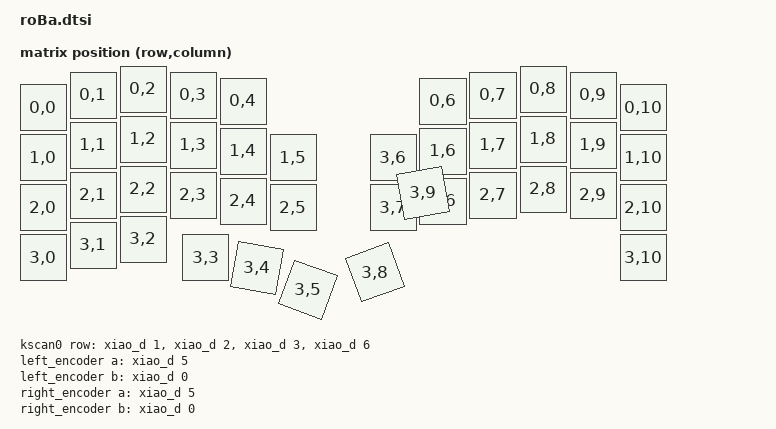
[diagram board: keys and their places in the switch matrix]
#include <dt-bindings/zmk/matrix_transform.h>
#include <physical_layouts.dtsi>
#include <input/processors.dtsi>
#include <dt-bindings/zmk/input_transform.h>

/ {
    chosen {
        zmk,physical-layout = &roba_physical_layout;
    };

    split_inputs {
        #address-cells = <1>;
        #size-cells = <0>;

        trackball_split: trackball_split@0 {
            compatible = "zmk,input-split";
            status = "disabled";
            reg = <0>;
        };
    };

    trackball_listener: trackball_listener {
        compatible = "zmk,input-listener";
        status = "disabled";
        device = <&trackball_split>;

        scroll {
            layers = <5>;
            input-processors = <&zip_xy_transform (INPUT_TRANSFORM_Y_INVERT)>, <&zip_xy_to_scroll_mapper>;
        };

        snipe {
            layers = <6>;
            input-processors = <&zip_xy_scaler 1 3>;
        };
    };
    
    roba_physical_layout: roba_physical_layout {
        compatible = "zmk,physical-layout";
        display-name = "Default";
        transform = <&default_transform>;
        kscan = <&kscan0>;

        keys  //                     w   h    x    y     rot    rx    ry
            = <&key_physical_attrs 100 100    0   37       0     0     0>
            , <&key_physical_attrs 100 100  100   12       0     0     0>
            , <&key_physical_attrs 100 100  200    0       0     0     0>
            , <&key_physical_attrs 100 100  300   12       0     0     0>
            , <&key_physical_attrs 100 100  400   24       0     0     0>

            , <&key_physical_attrs 100 100  800   24       0     0     0>
            , <&key_physical_attrs 100 100  900   12       0     0     0>
            , <&key_physical_attrs 100 100 1000    0       0     0     0>
            , <&key_physical_attrs 100 100 1100   12       0     0     0>
            , <&key_physical_attrs 100 100 1200   37       0     0     0>

            , <&key_physical_attrs 100 100    0  137       0     0     0>
            , <&key_physical_attrs 100 100  100  112       0     0     0>
            , <&key_physical_attrs 100 100  200  100       0     0     0>
            , <&key_physical_attrs 100 100  300  112       0     0     0>
            , <&key_physical_attrs 100 100  400  124       0     0     0>
            , <&key_physical_attrs 100 100  500  137       0     0     0>

            , <&key_physical_attrs 100 100  700  137       0     0     0>
            , <&key_physical_attrs 100 100  800  124       0     0     0>
            , <&key_physical_attrs 100 100  900  112       0     0     0>
            , <&key_physical_attrs 100 100 1000  100       0     0     0>
            , <&key_physical_attrs 100 100 1100  112       0     0     0>
            , <&key_physical_attrs 100 100 1200  137       0     0     0>

            , <&key_physical_attrs 100 100    0  237       0     0     0>
            , <&key_physical_attrs 100 100  100  212       0     0     0>
            , <&key_physical_attrs 100 100  200  200       0     0     0>
            , <&key_physical_attrs 100 100  300  212       0     0     0>
            , <&key_physical_attrs 100 100  400  224       0     0     0>
            , <&key_physical_attrs 100 100  500  237       0     0     0>

            , <&key_physical_attrs 100 100  700  237       0     0     0>
            , <&key_physical_attrs 100 100  800  224       0     0     0>
            , <&key_physical_attrs 100 100  900  212       0     0     0>
            , <&key_physical_attrs 100 100 1000  200       0     0     0>
            , <&key_physical_attrs 100 100 1100  212       0     0     0>
            , <&key_physical_attrs 100 100 1200  237       0     0     0>

            , <&key_physical_attrs 100 100    0  337       0     0     0>
            , <&key_physical_attrs 100 100  100  312       0     0     0>
            , <&key_physical_attrs 100 100  200  300       0     0     0>
            , <&key_physical_attrs 100 100  325  337       0     0     0>
            , <&key_physical_attrs 100 100  437  350    1000   437   350>
            , <&key_physical_attrs 100 100  550  387    2000   550   387>



            , <&key_physical_attrs 100 100  650  387 (-2000)   650   387>
            , <&key_physical_attrs 100 100  763  350 (-1000)     0   350>

            , <&key_physical_attrs 100 100 1200  337       0     0     0>

            ;
    };

    default_transform: keymap_transform_0 {
        compatible = "zmk,matrix-transform";
        columns = <11>;
        rows = <4>;               
        map = <
            RC(0,0) RC(0,1) RC(0,2) RC(0,3) RC(0,4)                     RC(0,6) RC(0,7) RC(0,8) RC(0,9) RC(0,10)
            RC(1,0) RC(1,1) RC(1,2) RC(1,3) RC(1,4) RC(1,5)     RC(3,6) RC(1,6) RC(1,7) RC(1,8) RC(1,9) RC(1,10)
            RC(2,0) RC(2,1) RC(2,2) RC(2,3) RC(2,4) RC(2,5)     RC(3,7) RC(2,6) RC(2,7) RC(2,8) RC(2,9) RC(2,10)
            RC(3,0) RC(3,1) RC(3,2) RC(3,3) RC(3,4) RC(3,5)     RC(3,8) RC(3,9)                         RC(3,10)         
        >;
    };
    
    kscan0: kscan {
        compatible = "zmk,kscan-gpio-matrix";
        label = "KSCAN";
        wakeup-source;
        diode-direction = "col2row";
            row-gpios
                = <&xiao_d 1 (GPIO_ACTIVE_HIGH | GPIO_PULL_DOWN)> 
                , <&xiao_d 2 (GPIO_ACTIVE_HIGH | GPIO_PULL_DOWN)> 
                , <&xiao_d 3 (GPIO_ACTIVE_HIGH | GPIO_PULL_DOWN)> 
                , <&xiao_d 6 (GPIO_ACTIVE_HIGH | GPIO_PULL_DOWN)> 			
                ;
    };

    left_encoder: encoder_left {
        compatible = "alps,ec11";
        a-gpios = <&xiao_d 5 (GPIO_ACTIVE_HIGH | GPIO_PULL_UP)>;
        b-gpios = <&xiao_d 0 (GPIO_ACTIVE_HIGH | GPIO_PULL_UP)>;
        steps = <12>;
        status = "disabled";
    };

    right_encoder: encoder_right {
        compatible = "alps,ec11";
        a-gpios = <&xiao_d 5 (GPIO_ACTIVE_HIGH | GPIO_PULL_UP)>;
        b-gpios = <&xiao_d 0 (GPIO_ACTIVE_HIGH | GPIO_PULL_UP)>;
        steps = <12>;
        status = "disabled";
    };

    sensors: sensors {
        compatible = "zmk,keymap-sensors";
        sensors = <&left_encoder &right_encoder>;
        triggers-per-rotation = <10>;
    };
};

/*
 * Disable the external QSPI flash (Puya P25Q16H).
 *
 * It is turned on by ZMK's own board overlay, app/boards/seeeduino_xiao_ble.overlay
 * (&qspi { status = "okay"; ... p25q16h@0 }), not by anything in this repo -- so it
 * ships enabled on every build here.
 *
 * Nothing in a ZMK build uses it: the board sets chosen { zephyr,flash = &flash0; }
 * and settings live in internal flash via NVS. It only gets initialised and
 * registered as a PM device.
 *
 * Why that matters for deep sleep: qspi_nor_pm_action() (Zephyr drivers/flash/
 * nrf_qspi_nor.c) can return -EBUSY, and with CONFIG_PM_DEVICE_RUNTIME unset its
 * SUSPEND path additionally calls qspi_device_init() and propagates its error. Any
 * device that fails to suspend makes zmk_pm_suspend_devices() return < 0, and
 * app/src/activity.c then returns *before* sys_poweroff() -- while activity state
 * is already ZMK_ACTIVITY_SLEEP. Candidate cause of "keyboard dies at deep sleep
 * and only a power cycle brings it back".
 *
 * Applied 2026-09-24 as the zero-risk first test for that failure. See also
 * CONFIG_PM_DEVICE_RUNTIME=y as the follow-up if this is not enough.
 */
&qspi {
    status = "disabled";
};
